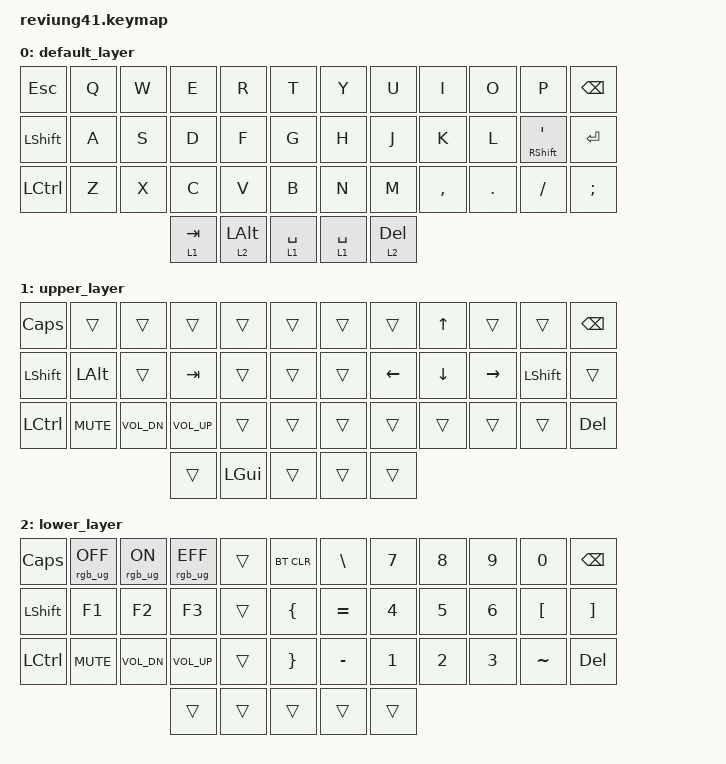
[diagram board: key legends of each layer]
/*
 * Copyright (c) 2020 The ZMK Contributors
 *
 * SPDX-License-Identifier: MIT
 */

#include <behaviors.dtsi>
#include <dt-bindings/zmk/keys.h>
#include <dt-bindings/zmk/bt.h>
#include <dt-bindings/zmk/rgb.h>
#include <dt-bindings/led/led.h>

/*
 * Temporarily here because nice nano v2 spi is not defined on ZMk Yet
 * Source: https://github.com/zmkfirmware/zmk/blob/main/app/boards/shields/reviung41/boards/nice_nano.overlay
 * GitHub Issue: https://github.com/zmkfirmware/zmk/issues/885
 */

&spi1 {
   compatible = "nordic,nrf-spim";
   status = "okay";
   mosi-pin = <6>;
   // Unused pins, needed for SPI definition, but not used by the ws2812 driver itself.
   sck-pin = <5>;
   miso-pin = <7>;

   led_strip: ws2812@0 {
      compatible = "worldsemi,ws2812-spi";
      label = "WS2812";

      /* SPI */
      reg = <0>; /* ignored, but necessary for SPI bindings */
      spi-max-frequency = <4000000>;

      /* WS2812 */
      chain-length = <11>; /* arbitrary; change at will */
      spi-one-frame = <0x70>;
      spi-zero-frame = <0x40>;
      color-mapping = <LED_COLOR_ID_GREEN
                   LED_COLOR_ID_RED
                   LED_COLOR_ID_BLUE>;
   };
};

/ {
   chosen {
      zmk,underglow = &led_strip;
   };
};



/*
 * Temporarily here because nice nano v2 spi is not defined on ZMk YET
 */


/ {
        keymap {
                compatible = "zmk,keymap";

                default_layer {
            bindings = <
            &kp ESC     &kp Q         &kp W         &kp E       &kp R       &kp T      &kp Y        &kp U       &kp I       &kp O       &kp P          &kp BSPC
            &kp LSHFT   &kp A         &kp S         &kp D       &kp F       &kp G      &kp H        &kp J       &kp K       &kp L       &mt RSHFT SQT  &kp RET
            &kp LCTRL   &kp Z         &kp X         &kp C       &kp V       &kp B      &kp N        &kp M       &kp COMMA   &kp DOT     &kp FSLH       &kp SEMI
                                                    &lt 1 TAB   &lt 2 LALT  &lt 1 SPACE  &lt 1 SPACE  &lt 2 DEL
            >;
        };

        upper_layer {
            bindings = <
            &kp CAPS    &trans        &trans         &trans        &trans      &trans     &trans       &trans      &kp UP      &trans      &trans     &kp BSPC
            &kp LSHFT   &kp LALT      &trans         &kp TAB       &trans      &trans     &trans       &kp LEFT    &kp DOWN    &kp RIGHT   &kp LSHFT  &trans
            &kp LCTRL   &kp C_MUTE    &kp C_VOL_DN   &kp C_VOL_UP  &trans      &trans     &trans       &trans      &trans      &trans      &trans     &kp DEL
                                                     &trans        &kp LGUI    &trans     &trans       &trans
            >;
        };

        lower_layer {
            bindings = <
            &kp CAPS   &rgb_ug RGB_OFF  &rgb_ug RGB_ON  &rgb_ug RGB_EFF  &trans     &bt BT_CLR   &kp BSLH    &kp N7    &kp N8    &kp N9    &kp N0     &kp BSPC
            &kp LSHFT  &kp F1          &kp F2           &kp F3           &trans     &kp LBRC     &kp EQUAL   &kp N4    &kp N5    &kp N6    &kp LBKT   &kp RBKT
            &kp LCTRL  &kp C_MUTE      &kp C_VOL_DN     &kp C_VOL_UP     &trans     &kp RBRC     &kp MINUS   &kp N1    &kp N2    &kp N3    &kp TILDE  &kp DEL
                                                        &trans           &trans     &trans       &trans      &trans

            >;
        };
    };
};
